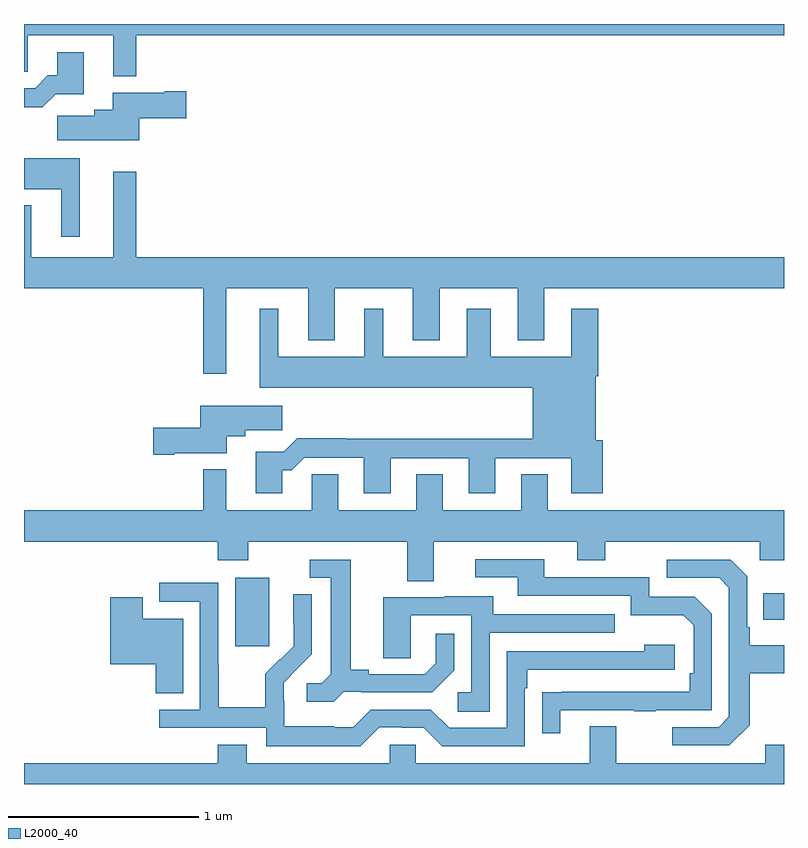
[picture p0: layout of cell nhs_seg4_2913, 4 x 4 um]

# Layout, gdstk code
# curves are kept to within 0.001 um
import gdstk
lib = gdstk.Library(unit=1e-6, precision=1e-09)
def R(c, l, rs):  # rectangles x0, y0, x1, y1
    for r in rs: c.add(gdstk.rectangle(r[:2], r[2:], *l))
def P(c, l, *ps):  # polygons
    for p in ps: c.add(gdstk.Polygon(p, *l))
L2000_40 = (2000, 40)

nhs_seg4_2913 = lib.new_cell('nhs_seg4_2913')
R(nhs_seg4_2913, L2000_40, [(266.111,773.625,266.29,773.986), (268.891,773.765,269,773.905)])
P(nhs_seg4_2913, L2000_40, [(265.591,776.84),(269,776.84),(269,776.9),(265,776.9),(265,776.65),(265.02,776.65),(265.02,776.84),(265.469,776.84),(265.469,776.624),(265.591,776.624)],
  [(265.166,776.531),(265.315,776.531),(265.315,776.752),(265.175,776.752),(265.175,776.629),(265.126,776.629),(265.059,776.562),(265,776.562),(265,776.462),(265.097,776.462)],
  [(265.606,776.405),(265.855,776.405),(265.855,776.547),(265.742,776.547),(265.742,776.539),(265.466,776.539),(265.466,776.449),(265.37,776.449),(265.37,776.417),(265.176,776.417),(265.176,776.288),(265.606,776.288)],
  [(265.294,776.194),(265,776.194),(265,776.03),(265.196,776.03),(265.196,775.779),(265.294,775.779)],
  [(266.065,775.508),(266.495,775.508),(266.495,775.235),(266.635,775.235),(266.635,775.508),(267.047,775.508),(267.047,775.235),(267.187,775.235),(267.187,775.508),(267.599,775.508),(267.599,775.235),(267.739,775.235),(267.739,775.508),(269,775.508),(269,775.672),(265.591,775.672),(265.591,776.122),(265.469,776.122),(265.469,775.672),(265.039,775.672),(265.039,775.945),(265,775.945),(265,775.508),(265.944,775.508),(265.944,775.059),(266.065,775.059)],
  [(266.359,774.551),(266.408,774.551),(266.475,774.618),(266.789,774.618),(266.789,774.429),(266.929,774.429),(266.929,774.615),(267.341,774.615),(267.341,774.429),(267.481,774.429),(267.481,774.615),(267.881,774.615),(267.881,774.429),(268.046,774.429),(268.046,774.708),(268.009,774.708),(268.009,775.046),(268.022,775.046),(268.022,775.402),(267.881,775.402),(267.881,775.15),(267.457,775.15),(267.457,775.402),(267.329,775.402),(267.329,775.15),(266.89,775.15),(266.89,775.402),(266.792,775.402),(266.792,775.15),(266.338,775.15),(266.338,775.402),(266.24,775.402),(266.24,774.986),(267.677,774.986),(267.677,774.716),(266.693,774.716),(266.693,774.719),(266.438,774.719),(266.368,774.649),(266.219,774.649),(266.219,774.429),(266.359,774.429)],
  [(265.792,774.641),(266.068,774.641),(266.068,774.731),(266.164,774.731),(266.164,774.763),(266.359,774.763),(266.359,774.892),(265.928,774.892),(265.928,774.776),(265.68,774.776),(265.68,774.634),(265.792,774.634)],
  [(267.157,774.176),(267.911,774.176),(267.911,774.077),(268.059,774.077),(268.059,774.176),(268.872,774.176),(268.872,774.077),(269,774.077),(269,774.34),(267.757,774.34),(267.757,774.53),(267.617,774.53),(267.617,774.34),(267.205,774.34),(267.205,774.53),(267.065,774.53),(267.065,774.34),(266.653,774.34),(266.653,774.53),(266.514,774.53),(266.514,774.34),(266.065,774.34),(266.065,774.556),(265.944,774.556),(265.944,774.34),(265,774.34),(265,774.176),(266.021,774.176),(266.021,774.077),(266.181,774.077),(266.181,774.176),(267.017,774.176),(267.017,773.968),(267.157,773.968)],
  [(267.823,773.289),(268.213,773.289),(268.213,773.284),(268.325,773.284),(268.325,773.289),(268.62,773.289),(268.62,773.796),(268.53,773.886),(268.29,773.886),(268.29,773.988),(267.739,773.988),(267.739,774.084),(267.375,774.084),(267.375,773.988),(267.599,773.988),(267.599,773.892),(268.194,773.892),(268.194,773.789),(268.471,773.789),(268.524,773.736),(268.524,773.482),(268.504,773.482),(268.504,773.385),(267.727,773.384),(267.727,773.166),(267.823,773.166)],
  [(266.682,773.385),(266.776,773.385),(266.776,773.382),(267.148,773.382),(267.264,773.498),(267.264,773.692),(267.167,773.692),(267.167,773.535),(267.11,773.478),(266.815,773.478),(266.815,773.501),(266.719,773.501),(266.719,774.081),(266.505,774.081),(266.505,773.985),(266.615,773.985),(266.615,773.477),(266.568,773.43),(266.487,773.43),(266.487,773.333),(266.63,773.333)],
  [(268.819,773.209),(268.819,773.482),(269,773.482),(269,773.629),(268.819,773.629),(268.819,773.725),(268.806,773.725),(268.806,773.994),(268.719,774.081),(268.383,774.081),(268.383,773.985),(268.659,773.985),(268.71,773.934),(268.71,773.253),(268.656,773.199),(268.413,773.199),(268.413,773.103),(268.713,773.103)],
  [(266.871,773.199),(266.987,773.199),(266.987,773.196),(267.105,773.196),(267.201,773.1),(267.636,773.1),(267.636,773.405),(267.649,773.405),(267.649,773.502),(268.426,773.502),(268.426,773.632),(268.265,773.632),(268.265,773.598),(267.54,773.598),(267.54,773.196),(267.237,773.196),(267.141,773.292),(266.826,773.292),(266.733,773.199),(266.633,773.199),(266.633,773.203),(266.37,773.203),(266.37,773.337),(266.368,773.337),(266.368,773.434),(266.514,773.582),(266.514,773.9),(266.418,773.9),(266.418,773.746),(266.42,773.746),(266.42,773.624),(266.349,773.553),(266.346,773.556),(266.269,773.479),(266.269,773.305),(266.025,773.305),(266.025,773.528),(266.022,773.528),(266.022,773.958),(265.713,773.958),(265.713,773.859),(265.926,773.859),(265.926,773.292),(265.713,773.292),(265.713,773.196),(266.274,773.196),(266.274,773.099),(266.771,773.099)],
  [(267.45,773.697),(268.109,773.697),(268.109,773.793),(267.469,773.793),(267.469,773.887),(267.215,773.887),(267.215,773.883),(266.891,773.883),(266.891,773.563),(267.036,773.563),(267.036,773.787),(267.354,773.787),(267.354,773.382),(267.282,773.382),(267.282,773.281),(267.45,773.281)],
  [(265.837,773.77),(265.624,773.77),(265.624,773.884),(265.454,773.884),(265.454,773.531),(265.694,773.531),(265.694,773.377),(265.837,773.377)],
  [(269,773.107),(268.901,773.107),(268.901,773.008),(268.117,773.008),(268.117,773.203),(267.977,773.203),(267.977,773.008),(267.063,773.008),(267.063,773.106),(266.925,773.106),(266.925,773.008),(266.173,773.008),(266.173,773.107),(266.021,773.107),(266.021,773.008),(265,773.008),(265,772.9),(269,772.9)])

lib.write_gds('nhs_seg4_2913.gds')
